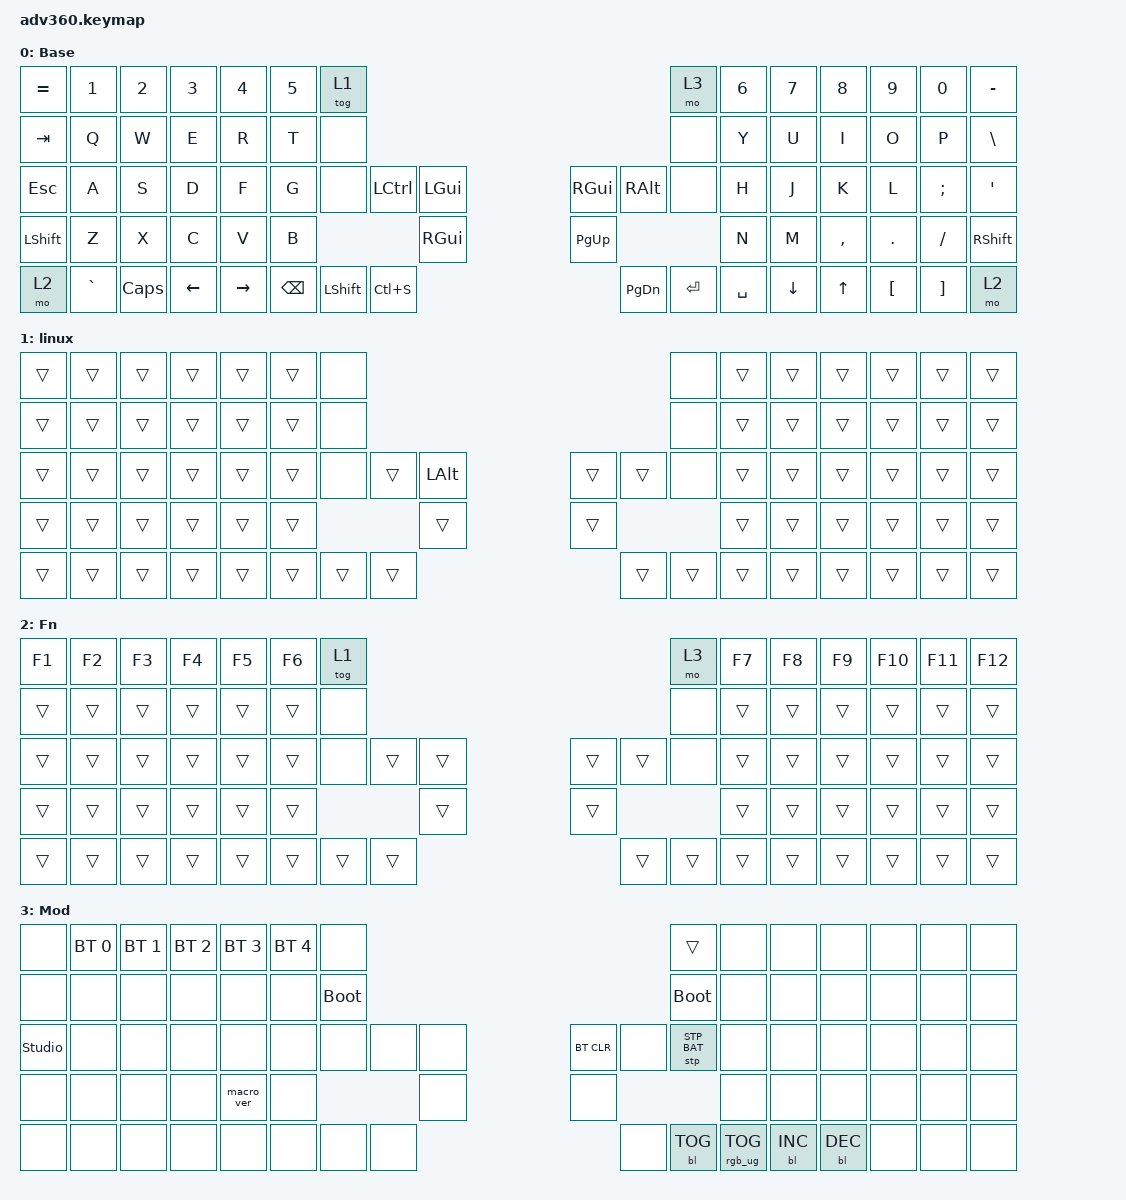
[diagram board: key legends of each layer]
#include <behaviors.dtsi>
#include <dt-bindings/zmk/keys.h>
#include <dt-bindings/zmk/bt.h>
#include <dt-bindings/zmk/rgb.h>
#include <dt-bindings/zmk/stp.h>
#include <dt-bindings/zmk/backlight.h>
#include <dt-bindings/zmk/pointing.h>

#define ALFRED &kp LG(SPACE)    // ALFRED

/ {
  behaviors {
    #include "macros.dtsi"

    hm: homerow_mods {
      compatible = "zmk,behavior-hold-tap";
      label = "HOMEROW_MODS";
      #binding-cells = <2>;
      tapping-term-ms = <200>;
      quick_tap_ms = <125>;
      flavor = "tap-preferred";
      bindings = <&kp>, <&kp>;
    };
  };

  keymap {
    compatible = "zmk,keymap";

    default_layer {
      display-name = "Base";
      bindings = <
        &kp EQUAL     &kp N1     &kp N2    &kp N3     &kp N4      &kp N5        &tog 1                                                                                              &mo 3       &kp N6    &kp N7    &kp N8      &kp N9     &kp N0     &kp MINUS
        &kp TAB       &kp Q      &kp W     &kp E      &kp R       &kp T         &none                                                                                               &none       &kp Y     &kp U     &kp I       &kp O      &kp P      &kp BSLH
        &kp ESC       &kp A      &kp S     &kp D      &kp F       &kp G         &none               &kp LCTRL    &kp LGUI                        &kp RGUI    &kp RALT               &none       &kp H     &kp J     &kp K       &kp L      &kp SEMI   &kp SQT
        &kp LSHFT     &kp Z      &kp X     &kp C      &kp V       &kp B                                          &kp RGUI                        &kp PG_UP                                      &kp N     &kp M     &kp COMMA   &kp DOT    &kp FSLH   &kp RSHFT
        &mo 2         &kp GRAVE  &kp CAPS  &kp LEFT   &kp RIGHT                         &kp BSPC    &kp LSHFT    &kp LC(S)                       &kp PG_DN   &kp ENTER  &kp SPACE                         &kp DOWN  &kp UP      &kp LBKT   &kp RBKT   &mo 2
      >;
    };

    keypad {
      display-name = "linux";
      bindings = <
        &trans &trans &trans &trans &trans &trans  &none                                           &none &trans &trans &trans &trans  &trans  &trans
        &trans &trans &trans &trans &trans &trans  &none                                           &none &trans &trans &trans &trans  &trans  &trans
        &trans &trans &trans &trans &trans &trans  &none        &trans &kp LALT  &trans &trans        &none &trans &trans &trans &trans  &trans  &trans
        &trans &trans &trans &trans &trans &trans                      &trans    &trans                     &trans &trans &trans &trans  &trans  &trans
        &trans &trans &trans &trans &trans               &trans &trans &trans    &trans &trans &trans              &trans &trans &trans  &trans  &trans
      >;
    };
    fn {
      display-name = "Fn";
      bindings = <
        &kp F1 &kp F2 &kp F3 &kp F4 &kp F5 &kp F6 &tog 1                                           &mo 3 &kp F7 &kp F8 &kp F9 &kp F10 &kp F11 &kp F12
        &trans &trans &trans &trans &trans &trans  &none                                           &none &trans &trans &trans &trans  &trans  &trans
        &trans &trans &trans &trans &trans &trans  &none        &trans &trans &trans &trans        &none &trans &trans &trans &trans  &trans  &trans
        &trans &trans &trans &trans &trans &trans                      &trans &trans                     &trans &trans &trans &trans  &trans  &trans
        &trans &trans &trans &trans &trans               &trans &trans &trans &trans &trans &trans              &trans &trans &trans  &trans  &trans
      >;
    };
    mod {
      display-name = "Mod";
      bindings = <
        &none &bt BT_SEL 0 &bt BT_SEL 1 &bt BT_SEL 2 &bt BT_SEL 3 &bt BT_SEL 4 &none                                                                     &trans                 &none        &none        &none        &none &none &none
        &none &none        &none        &none        &none        &none        &bootloader                                                               &bootloader            &none        &none        &none        &none &none &none
        &studio_unlock &none        &none        &none        &none        &none        &none                   &none &none &bt BT_CLR &none                      &stp STP_BAT &none        &none        &none        &none &none &none
        &none &none        &none        &none        &macro_ver   &none                                      &none &none                                                        &none        &none        &none        &none &none &none
        &none &none        &none        &none        &none                                       &none &none &none &none      &bl BL_TOG &rgb_ug RGB_TOG                                     &bl BL_INC   &bl BL_DEC   &none &none &none
      >;
    };

    extra1 { 
      display-name = "Red";    
      status = "reserved";
    };

    extra2 { 
      display-name = "Purple";    
      status = "reserved";
    };

    extra3 { 
      display-name = "Cyan";    
      status = "reserved";
    };

    extra4 { 
      display-name = "Yellow";    
      status = "reserved";
    };
  };
};
